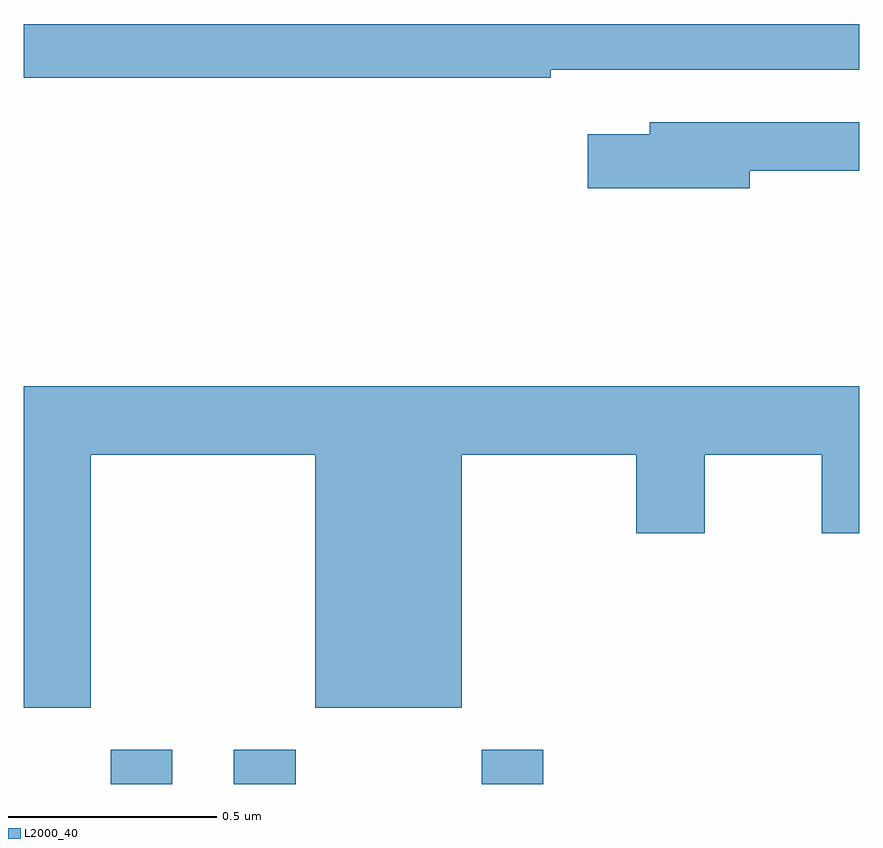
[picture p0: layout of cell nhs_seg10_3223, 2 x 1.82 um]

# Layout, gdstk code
import gdstk
lib = gdstk.Library(unit=1e-6, precision=1e-09)
def R(c, l, rs):  # rectangles x0, y0, x1, y1
    for r in rs: c.add(gdstk.rectangle(r[:2], r[2:], *l))
def P(c, l, *ps):  # polygons
    for p in ps: c.add(gdstk.Polygon(p, *l))
L2000_40 = (2000, 40)

nhs_seg10_3223 = lib.new_cell('nhs_seg10_3223')
R(nhs_seg10_3223, L2000_40, [(150.208,1327.5,150.355,1327.582), (150.503,1327.5,150.651,1327.582), (151.096,1327.5,151.243,1327.582)])
P(nhs_seg10_3223, L2000_40, [(151.262,1329.21),(152,1329.21),(152,1329.319),(150,1329.319),(150,1329.19),(151.262,1329.19)],
  [(151.738,1328.968),(152,1328.968),(152,1329.084),(151.499,1329.084),(151.499,1329.055),(151.35,1329.055),(151.35,1328.926),(151.738,1328.926)],
  [(150.16,1328.288),(150.698,1328.288),(150.698,1327.682),(151.048,1327.682),(151.048,1328.288),(151.466,1328.288),(151.466,1328.1),(151.63,1328.1),(151.63,1328.288),(151.91,1328.288),(151.91,1328.1),(152,1328.1),(152,1328.452),(150,1328.452),(150,1327.682),(150.16,1327.682)])

lib.write_gds('nhs_seg10_3223.gds')
